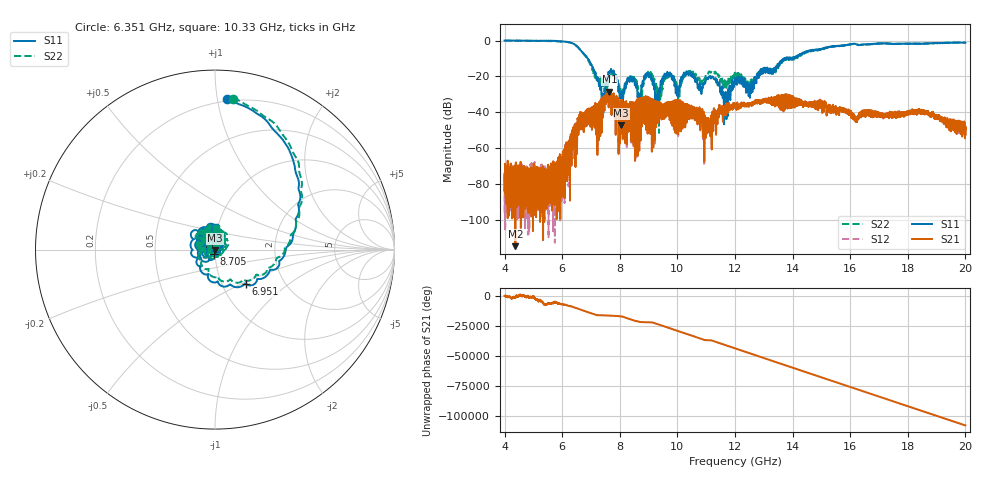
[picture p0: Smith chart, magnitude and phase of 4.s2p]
[Version] 2.0
! Rohde & Schwarz Vector Network Analyzer
! Rohde-Schwarz,ZNL20-2Port,1323001220200009,1.71.1.10-23.02.1.238
! Port Assignments:
! Nominal Port -> Actual Test Port
!  1 -> 1
!  2 -> 2
! Created: GMT+2 2025-01-16 20:21:42
# Hz S RI R 50
[Number of Ports] 2
[Two-Port Data Order] 21_12
! freq[Hz]  S11[Re]  S11[Im]  S21[Re]  S21[Im]  S12[Re]  S12[Im]  S22[Re]  S22[Im]
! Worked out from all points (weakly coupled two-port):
!   16001 points, 4 GHz to 20 GHz, reference 50 ohm
!   highest |S21| = -28.39 dB at 7.641 GHz (marker M1); lowest = -114.4 dB at 4.372 GHz (marker M2)
!   lowest |S11| = -47.2 dB at 8.05 GHz (marker M3), VSWR 1.01, Z = 50 - j0.438 ohm
!   |S11| at or under -10 dB: 6.889 GHz to 13.7 GHz (6.812 GHz wide, 66.2 % of centre); 13.71489 GHz to 13.74368 GHz (28.79 MHz wide, 0.21 % of centre); 13.94353 GHz to 13.96747 GHz (23.94 MHz wide, 0.172 % of centre) (the widest 3 of 9)
!   |S22| runs from -55.3 to 0.0 dB; largest |S21 - S12| = 0.0024
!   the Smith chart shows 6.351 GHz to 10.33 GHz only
!   S11 on the Smith chart (normalised r, x): 6.351 GHz: 0.18, +1.07; 6.951 GHz: 1.29, -0.53; 8.705 GHz: 0.99, -0.05; 10.33 GHz: 0.96, +0.25
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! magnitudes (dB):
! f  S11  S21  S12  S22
! 4 GHz  0.0  -80.2  -74.8  -0.2
! 4.372 GHz  0.0  -114.4  -73.7  -0.2
! 5.696 GHz  -0.1  -76.5  -81.9  -0.3
! 6.351 GHz  -1.5  -50.2  -50.8  -1.4
! 6.667 GHz  -5.9  -42.3  -41.8  -6.0
! 6.951 GHz  -11.8  -39.5  -39.3  -12.8
! 7.403 GHz  -29.9  -34.5  -34.6  -22.3
! 7.641 GHz  -17.3  -28.4  -28.3  -19.9
! 8.05 GHz  -47.2  -47.0  -46.9  -32.3
! 8.427 GHz  -22.8  -41.4  -41.1  -21.8
! 8.705 GHz  -31.8  -33.2  -33.1  -40.6
! 9.001 GHz  -20.2  -33.1  -33.2  -18.9
! 9.334 GHz  -28.3  -34.2  -34.3  -30.8
! 9.583 GHz  -20.6  -38.2  -38.4  -22.2
! 10.05 GHz  -25.7  -33.2  -33.2  -27.6
! 10.33 GHz  -18.0  -36.5  -36.4  -18.3
! 11.12 GHz  -19.9  -45.1  -45.4  -17.3
! 11.68 GHz  -28.6  -40.5  -40.4  -22.7
! 12 GHz  -20.8  -36.3  -36.3  -18.4
! 14.67 GHz  -5.5  -34.4  -34.4  -5.8
! 17.33 GHz  -1.8  -40.9  -41.2  -1.8
! 20 GHz  -1.2  -48.2  -47.4  -1.1
